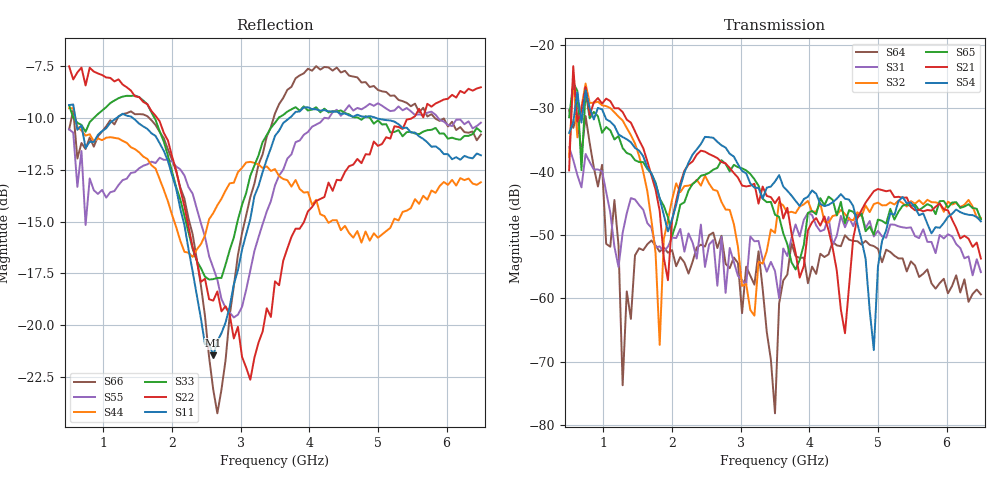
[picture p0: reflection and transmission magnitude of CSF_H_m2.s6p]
!Keysight Technologies,M9804A,MY58100912,A.14.10.03
!Date: Thursday, April 27, 2023 10:28:33
!Correction: S11(C  6-Port  )
!S12(C  6-Port  )
!S13(C  6-Port  )
!S14(C  6-Port  )
!S15(C  6-Port  )
!S16(C  6-Port  )
!S21(C  6-Port  )
!S22(C  6-Port  )
!S23(C  6-Port  )
!S24(C  6-Port  )
!S25(C  6-Port  )
!S26(C  6-Port  )
!S31(C  6-Port  )
!S32(C  6-Port  )
!S33(C  6-Port  )
!S34(C  6-Port  )
!S35(C  6-Port  )
!S36(C  6-Port  )
!S41(C  6-Port  )
!S42(C  6-Port  )
!S43(C  6-Port  )
!S44(C  6-Port  )
!S45(C  6-Port  )
!S46(C  6-Port  )
!S51(C  6-Port  )
!S52(C  6-Port  )
!S53(C  6-Port  )
!S54(C  6-Port  )
!S55(C  6-Port  )
!S56(C  6-Port  )
!S61(C  6-Port  )
!S62(C  6-Port  )
!S63(C  6-Port  )
!S64(C  6-Port  )
!S65(C  6-Port  )
!S66(C  6-Port  )
!S6P File: Measurement: :
# Hz S  RI  R 50
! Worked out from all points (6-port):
!   101 points, 500 MHz to 6.5 GHz, reference 50 ohm
!   strongest paths, dB at 500 MHz, 2 GHz, 3.5 GHz, 5 GHz, 6.5 GHz:
!     S54: -33.9, -47.5, -41.6, -55.0, -47.8
!     S21: -39.8, -47.7, -45.0, -42.7, -53.7
!     S65: -31.4, -50.2, -46.8, -47.6, -47.5
!     S32: -37.7, -44.4, -49.7, -44.9, -47.3
!     S31: -36.1, -50.4, -55.7, -49.3, -55.9
!     S64: -30.3, -52.4, -78.1, -52.2, -59.4
!   lowest |S11| = -21.5 dB at 2.6 GHz (marker M1), VSWR 1.18, Z = 42.5 + j2.16 ohm
!   |S11| at or under -10 dB: 591.9 MHz to 1.192 GHz (600.3 MHz wide, 67.3 % of centre); 1.428 GHz to 3.711 GHz (2.283 GHz wide, 88.8 % of centre); 4.974 GHz to end of sweep
